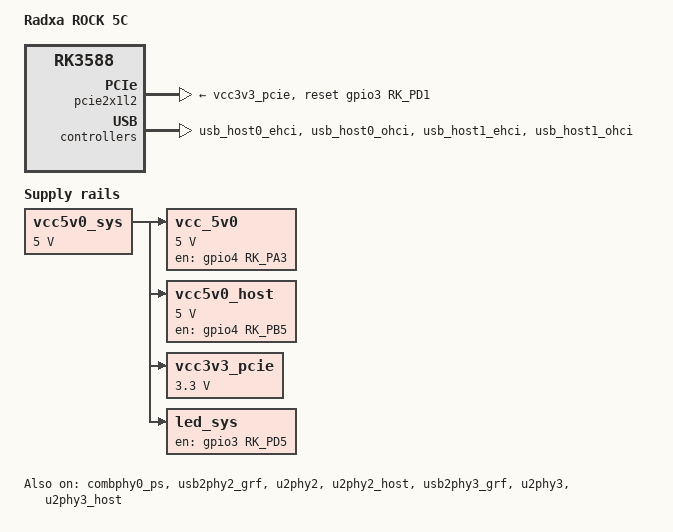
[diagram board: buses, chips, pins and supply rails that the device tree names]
// SPDX-License-Identifier: (GPL-2.0+ OR MIT)
/*
 * Copyright (c) 2021 Rockchip Electronics Co., Ltd
 *
 */

/dts-v1/;
#include "rk3588.dtsi"
#include "rk3588-u-boot.dtsi"
#include <dt-bindings/input/input.h>

/ {
	model = "Radxa ROCK 5C";
	compatible = "radxa,rock-5c", "rockchip,rk3588";

	vcc5v0_sys: vcc5v0-sys {
		u-boot,dm-pre-reloc;
		compatible = "regulator-fixed";
		regulator-name = "vcc5v0_sys";
		regulator-always-on;
		regulator-boot-on;
		regulator-min-microvolt = <5000000>;
		regulator-max-microvolt = <5000000>;
	};

	vcc_5v0: vcc-5v0 {
		u-boot,dm-pre-reloc;
		compatible = "regulator-fixed";
		regulator-name = "vcc_5v0";
		regulator-min-microvolt = <5000000>;
		regulator-max-microvolt = <5000000>;
		regulator-boot-on;
		regulator-always-on;
		enable-active-high;
		gpio = <&gpio4 RK_PA3 GPIO_ACTIVE_HIGH>;
		pinctrl-names = "default";
		pinctrl-0 = <&vcc_5v0_en>;
		vin-supply = <&vcc5v0_sys>;
	};

	vcc5v0_host: vcc5v0-host-regulator {
		u-boot,dm-pre-reloc;
		compatible = "regulator-fixed";
		regulator-name = "vcc5v0_host";
		regulator-boot-on;
		regulator-always-on;
		regulator-min-microvolt = <5000000>;
		regulator-max-microvolt = <5000000>;
		enable-active-high;
		gpio = <&gpio4 RK_PB5 GPIO_ACTIVE_HIGH>;
		pinctrl-names = "default";
		pinctrl-0 = <&vcc5v0_host_en>;
		vin-supply = <&vcc5v0_sys>;
	};

	vcc3v3_pcie: vcc3v3-pcie {
		u-boot,dm-pre-reloc;
		compatible = "regulator-fixed";
		regulator-name = "vcc3v3_pcie";
		regulator-min-microvolt = <3300000>;
		regulator-max-microvolt = <3300000>;
		enable-active-high;
		regulator-boot-on;
		regulator-always-on;
		vin-supply = <&vcc5v0_sys>;
	};

	led_sys: led-sys {
		u-boot,dm-pre-reloc;
		compatible = "regulator-fixed";
		regulator-name = "led_sys";
		enable-active-high;
		gpio = <&gpio3 RK_PD5 GPIO_ACTIVE_HIGH>; // Turn on user led
		regulator-boot-on;
		regulator-always-on;
		vin-supply = <&vcc5v0_sys>;
	};
};

&combphy0_ps {
	status = "okay";
	u-boot,dm-pre-reloc;
};

&pcie2x1l2 {
	status = "okay";
	reset-gpios = <&gpio3 RK_PD1 GPIO_ACTIVE_HIGH>;
	u-boot,dm-pre-reloc;
	vpcie3v3-supply = <&vcc3v3_pcie>;
};

&usb_host0_ehci {
	status = "okay";
	u-boot,dm-pre-reloc;
};

&usb_host0_ohci {
	status = "okay";
	u-boot,dm-pre-reloc;
};

&usb2phy2_grf {
	status = "okay";
	u-boot,dm-pre-reloc;
};

&u2phy2 {
	status = "okay";
	u-boot,dm-pre-reloc;
};

&u2phy2_host {
	status = "okay";
	u-boot,dm-pre-reloc;
};

&usb_host1_ehci {
	status = "okay";
	u-boot,dm-pre-reloc;
};

&usb_host1_ohci {
	status = "okay";
	u-boot,dm-pre-reloc;
};

&usb2phy3_grf {
	status = "okay";
	u-boot,dm-pre-reloc;
};

&u2phy3 {
	status = "okay";
	u-boot,dm-pre-reloc;
};

&u2phy3_host {
	status = "okay";
	u-boot,dm-pre-reloc;
};

&pinctrl {
	usb {
		u-boot,dm-pre-reloc;
		vcc5v0_host_en: vcc5v0-host-en {
			u-boot,dm-pre-reloc;
			rockchip,pins = <4 RK_PB5 RK_FUNC_GPIO &pcfg_pull_none>;
		};
	};

	power {
		u-boot,dm-spl;
		vcc_5v0_en: vcc-5v0-en {
			u-boot,dm-spl;
			rockchip,pins = <4 RK_PA3 RK_FUNC_GPIO &pcfg_pull_none>;
		};
	};
};
